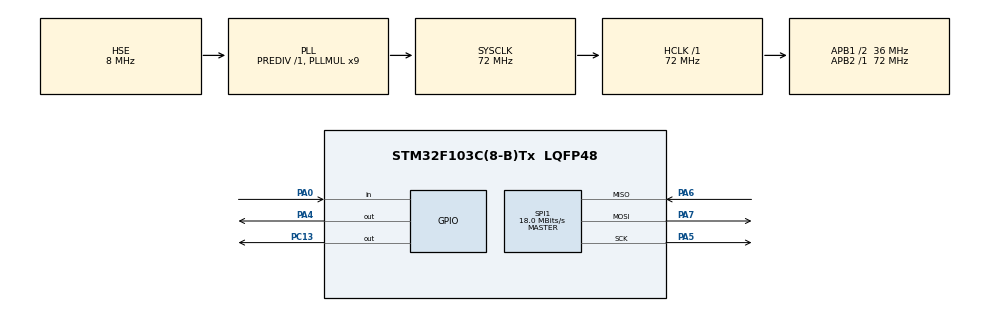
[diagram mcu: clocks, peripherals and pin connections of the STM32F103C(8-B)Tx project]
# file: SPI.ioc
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Mcu.Family=STM32F1
Mcu.Name=STM32F103C(8-B)Tx
Mcu.Package=LQFP48
NVIC.PriorityGroup=NVIC_PRIORITYGROUP_4
PA0-WKUP.GPIO_PuPd=GPIO_PULLUP
PA0-WKUP.Signal=GPIO_Input
PA13.Mode=Serial_Wire
PA13.Signal=SYS_JTMS-SWDIO
PA14.Mode=Serial_Wire
PA14.Signal=SYS_JTCK-SWCLK
PA4.GPIO_Speed=GPIO_SPEED_FREQ_HIGH
PA4.PinState=GPIO_PIN_SET
PA4.Signal=GPIO_Output
PA5.Mode=Full_Duplex_Master
PA5.Signal=SPI1_SCK
PA6.Mode=Full_Duplex_Master
PA6.Signal=SPI1_MISO
PA7.Mode=Full_Duplex_Master
PA7.Signal=SPI1_MOSI
PC13-TAMPER-RTC.GPIO_ModeDefaultOutputPP=GPIO_MODE_OUTPUT_OD
PC13-TAMPER-RTC.GPIO_PuPd=GPIO_NOPULL
PC13-TAMPER-RTC.PinState=GPIO_PIN_SET
PC13-TAMPER-RTC.Signal=GPIO_Output
PC14-OSC32_IN.Mode=LSE-External-Oscillator
PC14-OSC32_IN.Signal=RCC_OSC32_IN
PC15-OSC32_OUT.Mode=LSE-External-Oscillator
PC15-OSC32_OUT.Signal=RCC_OSC32_OUT
PD0-OSC_IN.Mode=HSE-External-Oscillator
PD0-OSC_IN.Signal=RCC_OSC_IN
PD1-OSC_OUT.Mode=HSE-External-Oscillator
PD1-OSC_OUT.Signal=RCC_OSC_OUT
ProjectManager.HeapSize=0x200
ProjectManager.StackSize=0x400
ProjectManager.TargetToolchain=MDK-ARM V5.32
RCC.AHBFreq_Value=72000000
RCC.APB1CLKDivider=RCC_HCLK_DIV2
RCC.APB1Freq_Value=36000000
RCC.APB1TimFreq_Value=72000000
RCC.APB2Freq_Value=72000000
RCC.APB2TimFreq_Value=72000000
RCC.HCLKFreq_Value=72000000
RCC.PLLMUL=RCC_PLL_MUL9
RCC.PLLSourceVirtual=RCC_PLLSOURCE_HSE
RCC.SYSCLKFreq_VALUE=72000000
RCC.SYSCLKSource=RCC_SYSCLKSOURCE_PLLCLK
RCC.USBFreq_Value=72000000
SPI1.BaudRatePrescaler=SPI_BAUDRATEPRESCALER_4
SPI1.CLKPhase=SPI_PHASE_2EDGE
SPI1.CLKPolarity=SPI_POLARITY_HIGH
SPI1.CalculateBaudRate=18.0 MBits/s
SPI1.Direction=SPI_DIRECTION_2LINES
SPI1.Mode=SPI_MODE_MASTER
SPI1.VirtualType=VM_MASTER
board=custom

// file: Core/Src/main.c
/* USER CODE BEGIN Header */
/**
  ******************************************************************************
  * @file           : main.c
  * @brief          : Main program body
  ******************************************************************************
  * @attention
  *
  * Copyright (c) 2026 STMicroelectronics.
  * All rights reserved.
  *
  * This software is licensed under terms that can be found in the LICENSE file
  * in the root directory of this software component.
  * If no LICENSE file comes with this software, it is provided AS-IS.
  *
  ******************************************************************************
  */
/* USER CODE END Header */
#include "main.h"
#include "spi.h"
#include "gpio.h"

void SystemClock_Config(void);
/* USER CODE BEGIN PFP */
static void SaveLEDState(uint8_t ledState);
static uint8_t LoadLEDState(void);
/* USER CODE END PFP */

/* USER CODE BEGIN 0 */
static uint8_t LoadLEDState(void)
{
	uint8_t readDataCmd[] = {0x03, 0x00, 0x00, 0x00};
	uint8_t ledState = 0xff;

	HAL_GPIO_WritePin(GPIOA,GPIO_PIN_4,GPIO_PIN_RESET);

	HAL_SPI_Transmit(&hspi1, readDataCmd, 4, HAL_MAX_DELAY);

	HAL_SPI_Receive(&hspi1, &ledState, 1, HAL_MAX_DELAY);

	HAL_GPIO_WritePin(GPIOA,GPIO_PIN_4,GPIO_PIN_SET);

	return ledState;
}

static void SaveLEDState(uint8_t ledState)
{
	//1.写使能
	uint8_t writeEnableCmd[] = {0x06};

	HAL_GPIO_WritePin(GPIOA,GPIO_PIN_4,GPIO_PIN_RESET);

	HAL_SPI_Transmit(&hspi1, writeEnableCmd, 1, HAL_MAX_DELAY);

	HAL_GPIO_WritePin(GPIOA,GPIO_PIN_4,GPIO_PIN_SET);
	//2.扇区擦除

	uint8_t sectorErase[] = {0x20, 0x00,0x00,0x00};

	HAL_GPIO_WritePin(GPIOA,GPIO_PIN_4,GPIO_PIN_RESET);

	HAL_SPI_Transmit(&hspi1, sectorErase, 4,HAL_MAX_DELAY);

	HAL_GPIO_WritePin(GPIOA,GPIO_PIN_4,GPIO_PIN_SET);

	HAL_Delay(100);
	//3.写使能
	HAL_GPIO_WritePin(GPIOA,GPIO_PIN_4,GPIO_PIN_RESET);

	HAL_SPI_Transmit(&hspi1, writeEnableCmd, 1, HAL_MAX_DELAY);

	HAL_GPIO_WritePin(GPIOA,GPIO_PIN_4,GPIO_PIN_SET);
	//4.页编程
	uint8_t pageProgCmd[5];
	pageProgCmd[0] = 0x02;
	pageProgCmd[1] = 0x00;
	pageProgCmd[2] = 0x00;
	pageProgCmd[3] = 0x00;
	pageProgCmd[4] = ledState;

	HAL_GPIO_WritePin(GPIOA,GPIO_PIN_4,GPIO_PIN_RESET);

	HAL_SPI_Transmit(&hspi1, pageProgCmd, 5, HAL_MAX_DELAY);

	HAL_GPIO_WritePin(GPIOA,GPIO_PIN_4,GPIO_PIN_SET);

	HAL_Delay(10);

}
/* USER CODE END 0 */

int main(void)
{

  /* MCU Configuration--------------------------------------------------------*/

  /* Reset of all peripherals, Initializes the Flash interface and the Systick. */
  HAL_Init();

  /* Configure the system clock */
  SystemClock_Config();

  /* Initialize all configured peripherals */
  MX_GPIO_Init();
  MX_SPI1_Init();

  /* Infinite loop */
  /* USER CODE BEGIN WHILE */
	uint8_t pre=1,cur=1;
	uint8_t ledState = 0;

	ledState = LoadLEDState();

	if(ledState == 1)
	{
		HAL_GPIO_WritePin(GPIOC, GPIO_PIN_13,GPIO_PIN_RESET);
	}
	else
	{
		HAL_GPIO_WritePin(GPIOC, GPIO_PIN_13, GPIO_PIN_SET);
	}

  while (1)
  {
    /* USER CODE END WHILE */
		pre=cur;

		if(HAL_GPIO_ReadPin(GPIOA, GPIO_PIN_0) == GPIO_PIN_SET)
		{
			cur = 1;
		}
		else
		{
			cur = 0;
		}

		if(pre != cur)
		{
			HAL_Delay(10);
			if(cur == 0){}  //按钮按下
			else
			{
				if(ledState == 1)
				{
					HAL_GPIO_WritePin(GPIOC, GPIO_PIN_13, GPIO_PIN_SET);
					ledState = 0;
				}
				else
				{
					HAL_GPIO_WritePin(GPIOC, GPIO_PIN_13, GPIO_PIN_RESET);
					ledState = 1;
				}
				SaveLEDState(ledState);
			}  //按钮抬起
		}
  }
}

void SystemClock_Config(void)
{
  RCC_OscInitTypeDef RCC_OscInitStruct = {0};
  RCC_ClkInitTypeDef RCC_ClkInitStruct = {0};

  /** Initializes the RCC Oscillators according to the specified parameters
  * in the RCC_OscInitTypeDef structure.
  */
  RCC_OscInitStruct.OscillatorType = RCC_OSCILLATORTYPE_HSE;
  RCC_OscInitStruct.HSEState = RCC_HSE_ON;
  RCC_OscInitStruct.HSEPredivValue = RCC_HSE_PREDIV_DIV1;
  RCC_OscInitStruct.HSIState = RCC_HSI_ON;
  RCC_OscInitStruct.PLL.PLLState = RCC_PLL_ON;
  RCC_OscInitStruct.PLL.PLLSource = RCC_PLLSOURCE_HSE;
  RCC_OscInitStruct.PLL.PLLMUL = RCC_PLL_MUL9;
  if (HAL_RCC_OscConfig(&RCC_OscInitStruct) != HAL_OK)
  {
    Error_Handler();
  }

  /** Initializes the CPU, AHB and APB buses clocks
  */
  RCC_ClkInitStruct.ClockType = RCC_CLOCKTYPE_HCLK|RCC_CLOCKTYPE_SYSCLK
                              |RCC_CLOCKTYPE_PCLK1|RCC_CLOCKTYPE_PCLK2;
  RCC_ClkInitStruct.SYSCLKSource = RCC_SYSCLKSOURCE_PLLCLK;
  RCC_ClkInitStruct.AHBCLKDivider = RCC_SYSCLK_DIV1;
  RCC_ClkInitStruct.APB1CLKDivider = RCC_HCLK_DIV2;
  RCC_ClkInitStruct.APB2CLKDivider = RCC_HCLK_DIV1;

  if (HAL_RCC_ClockConfig(&RCC_ClkInitStruct, FLASH_LATENCY_2) != HAL_OK)
  {
    Error_Handler();
  }
}

void Error_Handler(void)
{
  __disable_irq();
  while (1)
  {
  }
}
